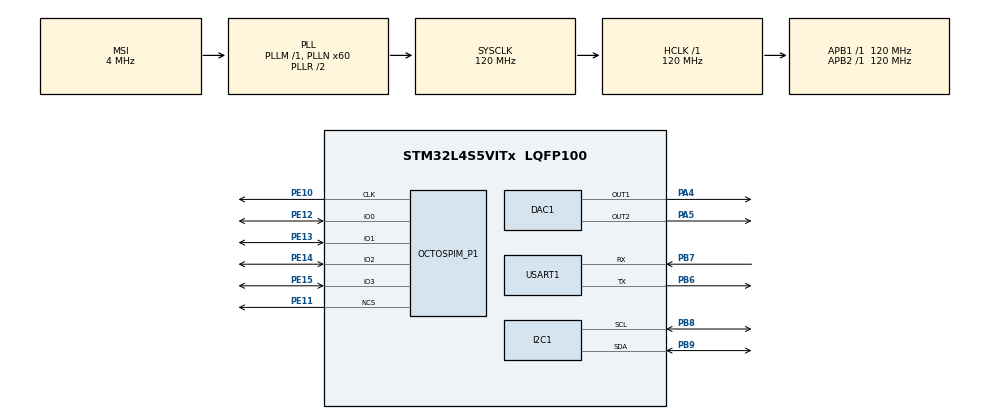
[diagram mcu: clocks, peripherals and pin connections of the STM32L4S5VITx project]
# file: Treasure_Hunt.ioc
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DAC1.DAC_Channel-DAC_OUT2=DAC_CHANNEL_2
DAC1.DAC_Trigger-DAC_OUT1=DAC_TRIGGER_T2_TRGO
DAC1.DAC_Trigger-DAC_OUT2=DAC_TRIGGER_NONE
Dma.DAC1_CH1.0.Direction=DMA_MEMORY_TO_PERIPH
Dma.DAC1_CH1.0.EventEnable=DISABLE
Dma.DAC1_CH1.0.Instance=DMA1_Channel1
Dma.DAC1_CH1.0.MemDataAlignment=DMA_MDATAALIGN_WORD
Dma.DAC1_CH1.0.MemInc=DMA_MINC_ENABLE
Dma.DAC1_CH1.0.Mode=DMA_CIRCULAR
Dma.DAC1_CH1.0.PeriphDataAlignment=DMA_PDATAALIGN_HALFWORD
Dma.DAC1_CH1.0.PeriphInc=DMA_PINC_DISABLE
Dma.DAC1_CH1.0.Polarity=HAL_DMAMUX_REQUEST_GEN_RISING
Dma.DAC1_CH1.0.Priority=DMA_PRIORITY_LOW
Dma.DAC1_CH1.0.RequestNumber=1
Dma.DAC1_CH1.0.SignalID=NONE
Dma.DAC1_CH1.0.SyncEnable=DISABLE
Dma.DAC1_CH1.0.SyncPolarity=HAL_DMAMUX_SYNC_NO_EVENT
Dma.DAC1_CH1.0.SyncRequestNumber=1
Dma.DAC1_CH1.0.SyncSignalID=NONE
Dma.Request0=DAC1_CH1
I2C1.Timing=0x30A175AB
Mcu.Family=STM32L4
Mcu.Name=STM32L4S5VITx
Mcu.Package=LQFP100
NVIC.DMA1_Channel1_IRQn=true\:0\:0\:false\:false\:true\:false\:true\:true
NVIC.PriorityGroup=NVIC_PRIORITYGROUP_4
NVIC.TIM6_DAC_IRQn=true\:15\:0\:false\:false\:true\:false\:true\:true
NVIC.TimeBase=TIM6_DAC_IRQn
NVIC.TimeBaseIP=TIM6
OCTOSPI1.ClockPrescaler=1
OCTOSPI1.DeviceSize=23
OCTOSPI1.SampleShifting=HAL_OSPI_SAMPLE_SHIFTING_HALFCYCLE
PA4.Signal=COMP_DAC11_group
PA5.Signal=COMP_DAC12_group
PB6.Mode=Asynchronous
PB6.Signal=USART1_TX
PB7.Mode=Asynchronous
PB7.Signal=USART1_RX
PB8.Mode=I2C
PB8.Signal=I2C1_SCL
PB9.Mode=I2C
PB9.Signal=I2C1_SDA
PE10.Mode=O1_P1_CLK
PE10.Signal=OCTOSPIM_P1_CLK
PE11.Mode=OCTOSPI1_Port1_NCS
PE11.Signal=OCTOSPIM_P1_NCS
PE12.Mode=OCTOSPI1_IOL_Port1L
PE12.Signal=OCTOSPIM_P1_IO0
PE13.Mode=OCTOSPI1_IOL_Port1L
PE13.Signal=OCTOSPIM_P1_IO1
PE14.Mode=OCTOSPI1_IOL_Port1L
PE14.Signal=OCTOSPIM_P1_IO2
PE15.Mode=OCTOSPI1_IOL_Port1L
PE15.Signal=OCTOSPIM_P1_IO3
ProjectManager.HeapSize=0x200
ProjectManager.StackSize=0x400
ProjectManager.TargetToolchain=STM32CubeIDE
RCC.ADCFreq_Value=48000000
RCC.AHBFreq_Value=120000000
RCC.APB1Freq_Value=120000000
RCC.APB1TimFreq_Value=120000000
RCC.APB2Freq_Value=120000000
RCC.APB2TimFreq_Value=120000000
RCC.CortexFreq_Value=120000000
RCC.HCLKFreq_Value=120000000
RCC.HSE_VALUE=8000000
RCC.HSI48_VALUE=48000000
RCC.HSI_VALUE=16000000
RCC.LSE_VALUE=32768
RCC.MSI_VALUE=4000000
RCC.PLLN=60
RCC.PLLSAI1N=24
RCC.SYSCLKFreq_VALUE=120000000
RCC.SYSCLKSource=RCC_SYSCLKSOURCE_PLLCLK
RCC.USBFreq_Value=48000000
RCC.VCOOutputFreq_Value=240000000
SH.COMP_DAC11_group.0=DAC1_OUT1,DAC_OUT1
SH.COMP_DAC12_group.0=DAC1_OUT2,DAC_OUT2
TIM2.Period=2721
TIM2.TIM_MasterOutputTrigger=TIM_TRGO_UPDATE
USART1.VirtualMode-Asynchronous=VM_ASYNC
VP_OCTOSPI1_VS_quad.Mode=quad_mode
VP_SYS_VS_tim6.Mode=TIM6
VP_TIM2_VS_ClockSourceINT.Mode=Internal
board=B-L4S5I-IOT01A

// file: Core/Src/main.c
/* USER CODE BEGIN Header */
/**
  ****************************************************************************
  * @file           : main.c
  * @brief          : Main program body
  ****************************************************************************
  * @attention
  *
  * Copyright (c) 2024 STMicroelectronics.
  * All rights reserved.
  *
  * This software is licensed under terms that can be found in the LICENSE file
  * in the root directory of this software component.
  * If no LICENSE file comes with this software, it is provided AS-IS.
  *
  ****************************************************************************
  */
/* USER CODE END Header */
#include "main.h"

/* USER CODE BEGIN Includes */
#include "stm32l4s5i_iot01.h"
#include "stm32l4s5i_iot01_gyro.h"
#include "stm32l4s5i_iot01_accelero.h"
#include "../../Drivers/Components/hts221/hts221.h"
#include "../../Drivers/Components/lsm6dsl/lsm6dsl.h"
#include "stm32l4s5i_iot01_qspi.h"

/* USER CODE END Includes */

/* USER CODE BEGIN PD */

#define PRECISION 4096
#define NOTE_CAPACITY 42
#define HIGHSCORE_FLASH_ADDRESS 0x00000000
#define SEED_FLASH_ADDRESS 0x00000500
#define DEFAULT_SEED 28

/* USER CODE END PD */

DAC_HandleTypeDef hdac1;
DMA_HandleTypeDef hdma_dac1_ch1;

I2C_HandleTypeDef hi2c1;

OSPI_HandleTypeDef hospi1;

TIM_HandleTypeDef htim2;

UART_HandleTypeDef huart1;

/* USER CODE BEGIN PV */

//  ---------- map generation and player progress ----------

uint32_t counter = 0;
int gameover = 0;
uint32_t highScore = 0;

int treasureRow, treasureCol;
int playerRow = 0;
int playerCol = 0;

// ---------- victory chime ----------

uint32_t array_size[] = {42,38,34,28};
uint32_t C6[NOTE_CAPACITY];
uint32_t D6[NOTE_CAPACITY];
uint32_t E6[NOTE_CAPACITY];
uint32_t G6[NOTE_CAPACITY];

uint32_t *notes[4];

uint32_t victoryMelody[] = {
    0, 2, 3, 0, 3, 0, 0   // C6, E6, G6, C7, G6, C7, C7
};

uint32_t victoryDurations[] = {
    500, 500, 500, 500, 300, 300, 1000 // Durations in milliseconds for each note
};

uint32_t victoryLength = 7; // Number of notes in the victory melody
uint32_t victoryIndex = 0;  // Index to track the current note
uint32_t dac_array[16];

// ---------- movement tracking ----------

// thresholds for movement
const int16_t accelThreshold = 200;
const float gyroThreshold = 1000.0f;

// use current as reference for movement change
int currentDirection = 0;

// debounce to help with noise
uint32_t lastChangeTime = 0;
const uint32_t debounceTime = 500;

/* USER CODE END PV */

void SystemClock_Config(void);
static void MX_GPIO_Init(void);
static void MX_DMA_Init(void);
static void MX_USART1_UART_Init(void);
static void MX_TIM2_Init(void);
static void MX_DAC1_Init(void);
static void MX_I2C1_Init(void);
static void MX_OCTOSPI1_Init(void);

/* USER CODE BEGIN 0 */

void SaveHighScore(uint32_t highScore) {
    uint8_t dataToWrite[4];

    // Set the highest bit to indicate that the high score is valid
    highScore |= (1UL << 31);

    // Convert the high score into a 4-byte array
    dataToWrite[0] = (highScore >> 24) & 0xFF;
    dataToWrite[1] = (highScore >> 16) & 0xFF;
    dataToWrite[2] = (highScore >> 8) & 0xFF;
    dataToWrite[3] = highScore & 0xFF;

    if (BSP_QSPI_Init() != QSPI_OK) {
//        HAL_UART_Transmit(&huart1, (uint8_t *)"QSPI Init Failed\r\n", 18, HAL_MAX_DELAY);
        Error_Handler();
    }

//    HAL_UART_Transmit(&huart1, (uint8_t *)"QSPI Init Success\r\n", 20, HAL_MAX_DELAY);

    // Erase the flash sector containing the high score
    if (BSP_QSPI_Erase_Sector(HIGHSCORE_FLASH_ADDRESS) != QSPI_OK) {
//        HAL_UART_Transmit(&huart1, (uint8_t *)"QSPI Erase Failed\r\n", 19, HAL_MAX_DELAY);
        Error_Handler();
    }

//    HAL_UART_Transmit(&huart1, (uint8_t *)"QSPI Erase Command Sent\r\n", 25, HAL_MAX_DELAY);

    // Wait for the erase operation to complete
    while (BSP_QSPI_GetStatus() == QSPI_BUSY) {
        HAL_Delay(10);
    }

    HAL_UART_Transmit(&huart1, (uint8_t *)"QSPI Erase Completed\r\n", 23, HAL_MAX_DELAY);

    // Write the high score to the flash memory
    if (BSP_QSPI_Write(dataToWrite, HIGHSCORE_FLASH_ADDRESS, sizeof(dataToWrite)) != QSPI_OK) {
//        HAL_UART_Transmit(&huart1, (uint8_t *)"QSPI Write Failed\r\n", 20, HAL_MAX_DELAY);
        Error_Handler();
    }

    HAL_UART_Transmit(&huart1, (uint8_t *)"High Score Saved\r\n", 18, HAL_MAX_DELAY);
}

uint32_t LoadHighScore(void) {
    uint8_t dataRead[4]; // Buffer to hold the 4 bytes of high score data

    // Initialize QSPI
    if (BSP_QSPI_Init() != QSPI_OK) {
//        HAL_UART_Transmit(&huart1, (uint8_t *)"QSPI Init Failed\r\n", 18, HAL_MAX_DELAY);
        Error_Handler();
    }

//    HAL_UART_Transmit(&huart1, (uint8_t *)"QSPI Init Success\r\n", 20, HAL_MAX_DELAY);

    // Read high score from flash memory
    if (BSP_QSPI_Read(dataRead, HIGHSCORE_FLASH_ADDRESS, sizeof(dataRead)) != QSPI_OK) {
//        HAL_UART_Transmit(&huart1, (uint8_t *)"QSPI Read Failed\r\n", 19, HAL_MAX_DELAY);
        Error_Handler();
    }

    // Combine the 4 bytes into a 32-bit integer
    uint32_t loadedHighScore = (dataRead[0] << 24) | (dataRead[1] << 16) | (dataRead[2] << 8) | dataRead[3];

    // Check if the highest bit (bit 31) is set, indicating a valid high score
    if ((loadedHighScore & (1UL << 31)) == 0) {
        // If bit 31 is not set, assume the high score is uninitialized and set it to 1000
        loadedHighScore = 10000;
    } else {
        // Clear the highest bit before using the high score value
        loadedHighScore &= ~(1UL << 31);
    }

    // Print the high score

    return loadedHighScore; // Return the high score
}

void SaveSeed(uint32_t seed) {
    uint8_t dataToWrite[4];

    dataToWrite[0] = (seed >> 24) & 0xFF;
    dataToWrite[1] = (seed >> 16) & 0xFF;
    dataToWrite[2] = (seed >> 8) & 0xFF;
    dataToWrite[3] = seed & 0xFF;

    if (BSP_QSPI_Init() != QSPI_OK) {
        Error_Handler();
    }

    if (BSP_QSPI_Erase_Sector(SEED_FLASH_ADDRESS) != QSPI_OK) {
        Error_Handler();
    }

    while (BSP_QSPI_GetStatus() == QSPI_BUSY) {
        HAL_Delay(10);
    }

    if (BSP_QSPI_Write(dataToWrite, SEED_FLASH_ADDRESS, sizeof(dataToWrite)) != QSPI_OK) {
        Error_Handler();
    }
}

uint32_t LoadSeed(void) {
    uint8_t dataRead[4];

    if (BSP_QSPI_Init() != QSPI_OK) {
        Error_Handler();
    }

    if (BSP_QSPI_Read(dataRead, SEED_FLASH_ADDRESS, sizeof(dataRead)) != QSPI_OK) {
        Error_Handler();
    }

    uint32_t seed = (dataRead[0] << 24) | (dataRead[1] << 16) | (dataRead[2] << 8) | dataRead[3];

    if (seed == 0xFFFFFFFF) {
        seed = DEFAULT_SEED;
    }

    return seed;
}

int DetectMovement(void) {
	// get sensor data
    float gyroData[3];
    int16_t accelData[3];
    BSP_GYRO_GetXYZ(gyroData);
    BSP_ACCELERO_AccGetXYZ(accelData);

    // detected direction
    int newDirection = 0;

    // current time
    uint32_t currentTime = HAL_GetTick();

    // check tilt
    if (accelData[0] > accelThreshold && gyroData[0] > gyroThreshold) {
    	newDirection = 1; //up
    } else if (accelData[1] < -accelThreshold && gyroData[1] < -gyroThreshold) {
    	newDirection = 2; //left
    } else if (accelData[0] < -accelThreshold && gyroData[0] < -gyroThreshold) {
    	newDirection = 3; //down
    } else if (accelData[1] > accelThreshold && gyroData[1] > gyroThreshold) {
    	newDirection = 4; //right
    } else {
    	newDirection = 0; //neutral
    }

    // only print if change in direction after enough delay (debounce)
    if ((newDirection != currentDirection) && (currentTime - lastChangeTime > debounceTime)) {
        // update direction
    	currentDirection = newDirection;
        lastChangeTime = currentTime;
    }

    return currentDirection;
}

void PrintInitialGrid(void) {
    const char newline[] = "\r\n"; // Newline for the terminal
    char displayBuffer[64];

    // Print a grid of all '1's
    for (int i = 0; i < 4; i++) {
        memset(displayBuffer, '1', 4);
        displayBuffer[4] = '\0';
        HAL_UART_Transmit(&huart1, (uint8_t *)displayBuffer, strlen(displayBuffer), HAL_MAX_DELAY);
        HAL_UART_Transmit(&huart1, (uint8_t *)newline, strlen(newline), HAL_MAX_DELAY);
    }
}

void PrintTreasureGrid(void) {
    const char newline[] = "\r\n";
    char grid[4][4];
    char treasureBuffer[32];
    char displayBuffer[64];  // Buffer to send rows over UART

    // Initialize the grid with '.' for empty spaces
    for (int i = 0; i < 4; i++) {
        for (int j = 0; j < 4; j++) {
            grid[i][j] = '.';
        }
    }

    // Set the treasure ('x') and player ('*') locations
    grid[treasureRow][treasureCol] = 'x'; // Treasure location
    grid[playerRow][playerCol] = '*';    // Player location

    // format output
    for (int i = 0; i <= 4; i++) {  // Includes the top and bottom border
        if (i == 0) {
            snprintf(displayBuffer, sizeof(displayBuffer), "+---+---+---+---+\r\n");
            HAL_UART_Transmit(&huart1, (uint8_t *)displayBuffer, strlen(displayBuffer), HAL_MAX_DELAY);
        } else {
            char rowBuffer[32] = "|";  // Start with the first border
            for (int j = 0; j < 4; j++) {
                char cell[8];
                snprintf(cell, sizeof(cell), " %c |", grid[i - 1][j]);  // Add cell content with separators
                strncat(rowBuffer, cell, sizeof(rowBuffer) - strlen(rowBuffer) - 1);
            }
            snprintf(displayBuffer, sizeof(displayBuffer), "%s\r\n", rowBuffer);
            HAL_UART_Transmit(&huart1, (uint8_t *)displayBuffer, strlen(displayBuffer), HAL_MAX_DELAY);

            snprintf(displayBuffer, sizeof(displayBuffer), "+---+---+---+---+\r\n");
            HAL_UART_Transmit(&huart1, (uint8_t *)displayBuffer, strlen(displayBuffer), HAL_MAX_DELAY);
        }
    }
}

void Move(void) {
    int movement = 0;

    // wait to get a valid direction (not none)
    while (movement == 0) {
        movement = DetectMovement();
        HAL_Delay(50);
    }

    // move
    switch (movement) {
        case 2: // up
            if (playerRow > 0) {
                playerRow--;
                counter++;
            }
            break;
        case 3: // right
            if (playerCol < 3) {
                playerCol++;
                counter++;
            }
            break;
        case 4: // down
            if (playerRow < 3) {
                playerRow++;
                counter++;
            }
            break;
        case 1: // left
            if (playerCol > 0) {
                playerCol--;
                counter++;
            }
            break;
        default:
            break;
    }

    // show new map
    PrintTreasureGrid();

    // print the updated number of moves
    char counterBuffer[50];
    snprintf(counterBuffer, sizeof(counterBuffer), "Moves made: %d\r\n", counter);
    HAL_UART_Transmit(&huart1, (uint8_t *)counterBuffer, strlen(counterBuffer), HAL_MAX_DELAY);

    // check if on treasure
    if (playerRow == treasureRow && playerCol == treasureCol) {
        const char winMessage[] = "You found the treasure!\r\n";
        HAL_UART_Transmit(&huart1, (uint8_t *)winMessage, strlen(winMessage), HAL_MAX_DELAY);
        HAL_Delay(1000);

        if(counter < LoadHighScore()){

        SaveHighScore(counter);

        }

        for(int i = 0; i< victoryLength; i++){

         uint32_t nextNote = victoryMelody[i]; // Get the current note
   	     uint32_t duration = victoryDurations[i]; // Get the current duration

   	     // Stop the current DMA for buffer
   	     HAL_DAC_Stop_DMA(&hdac1, DAC_CHANNEL_1);

   	     // Start DMA with the new note
   	     HAL_DAC_Start_DMA(&hdac1, DAC_CHANNEL_1, notes[nextNote], array_size[nextNote], DAC_ALIGN_12B_R);

   	     // Add a delay for the note duration
   	     HAL_Delay(duration);
        }

        HAL_DAC_Stop_DMA(&hdac1, DAC_CHANNEL_1);
        gameover = 1;

   	     // Increment the index to play the next note

    }
    else {
    	if (playerRow > treasureRow && playerCol > treasureCol) {
    		const char winMessage[] = "The treasure further up,\r\nmaybe left?\r\n";
    		HAL_UART_Transmit(&huart1, (uint8_t *)winMessage, strlen(winMessage), HAL_MAX_DELAY);
    		HAL_Delay(1000);
    	}
    	else if(playerRow > treasureRow && playerCol < treasureCol) {
    		const char winMessage[] = "You should go right up:))\r\n";
    		HAL_UART_Transmit(&huart1, (uint8_t *)winMessage, strlen(winMessage), HAL_MAX_DELAY);
    		HAL_Delay(1000);
    	}
    	else if(playerRow < treasureRow && playerCol > treasureCol) {
    		const char winMessage[] = "going up is not ~right~\r\n";
    		HAL_UART_Transmit(&huart1, (uint8_t *)winMessage, strlen(winMessage), HAL_MAX_DELAY);
    		HAL_Delay(1000);
    	}
    	else if(playerRow < treasureRow && playerCol < treasureCol) {
    		const char winMessage[] = "further down, right?\r\n";
    		HAL_UART_Transmit(&huart1, (uint8_t *)winMessage, strlen(winMessage), HAL_MAX_DELAY);
    		HAL_Delay(1000);
    	}
    	else if(playerRow == treasureRow) {
    		const char winMessage[] = "you're at the right level!\r\n";
    		HAL_UART_Transmit(&huart1, (uint8_t *)winMessage, strlen(winMessage), HAL_MAX_DELAY);
    		HAL_Delay(1000);
    	}
    	else if(playerCol == treasureCol) {
    		const char winMessage[] = "you should keep climbing up, \r\nor maybe down? you decide.\r\n";
    		HAL_UART_Transmit(&huart1, (uint8_t *)winMessage, strlen(winMessage), HAL_MAX_DELAY);
    		HAL_Delay(1000);
    	}
    }
}

/* USER CODE END 0 */

int main(void)
{

  /* MCU Configuration--------------------------------------------------------*/

  /* Reset of all peripherals, Initializes the Flash interface and the Systick. */
  HAL_Init();

  /* USER CODE BEGIN Init */

//  // ----- code to reset high score-----
//  uint32_t resetHS = 10;
//  SaveHighScore(resetHS);

  BSP_GYRO_Init();
  BSP_ACCELERO_Init();

  /* USER CODE END Init */

  /* Configure the system clock */
  SystemClock_Config();

  /* Initialize all configured peripherals */
  MX_GPIO_Init();
  MX_DMA_Init();
  MX_USART1_UART_Init();
  MX_TIM2_Init();
  MX_DAC1_Init();
  MX_I2C1_Init();
  MX_OCTOSPI1_Init();
  /* USER CODE BEGIN 2 */

  float gyroData[3];
  int16_t accelData[3];

  // Get Gyroscope and Accelerometer data
  BSP_GYRO_GetXYZ(gyroData);
  BSP_ACCELERO_AccGetXYZ(accelData);

  // Combine gyro and accel data into a new seed
  uint32_t gyroX = (uint32_t)gyroData[0];
  uint32_t gyroY = (uint32_t)gyroData[1];
  uint32_t gyroZ = (uint32_t)gyroData[2];

  uint32_t accelX = (uint32_t)accelData[0];
  uint32_t accelY = (uint32_t)accelData[1];
  uint32_t accelZ = (uint32_t)accelData[2];

  // Generate a seed by combining gyro and accel values
  uint32_t combinedSeed = (gyroX ^ gyroY ^ gyroZ) + (accelX ^ accelY ^ accelZ);

  // Seed the random number generator
  srand(combinedSeed);

  // Save the new seed for the next program run
  SaveSeed(combinedSeed);

  // Generate random treasure positions
  treasureRow = rand() % 4; // Random row (0-3)
  treasureCol = rand() % 4; // Random column (0-3)

   notes[0] = C6;
   notes[1] = D6;
   notes[2] = E6;
   notes[3] = G6;

 for (int i = 0; i<4; i++) {
  generateArray(notes[i], PRECISION, array_size[i]);
 }

 char highScoreBuffer[50];
 snprintf(highScoreBuffer, sizeof(highScoreBuffer), "High Score: %d\r\n", LoadHighScore());
 HAL_UART_Transmit(&huart1, (uint8_t *)highScoreBuffer, strlen(highScoreBuffer), HAL_MAX_DELAY);

 PrintTreasureGrid();

  /* USER CODE END 2 */

  /* Infinite loop */
  /* USER CODE BEGIN WHILE */

//  PrintInitialGrid();
  // Print the updated number of moves
  const char newline[] = "\r\n";
  HAL_UART_Transmit(&huart1, (uint8_t *)newline, strlen(newline), HAL_MAX_DELAY);
  while (!gameover)
  {
	  Move();
	  HAL_Delay(1500);

    /* USER CODE END WHILE */

  }
}

void SystemClock_Config(void)
{
  RCC_OscInitTypeDef RCC_OscInitStruct = {0};
  RCC_ClkInitTypeDef RCC_ClkInitStruct = {0};

  /** Configure the main internal regulator output voltage
  */
  if (HAL_PWREx_ControlVoltageScaling(PWR_REGULATOR_VOLTAGE_SCALE1_BOOST) != HAL_OK)
  {
    Error_Handler();
  }

  /** Initializes the RCC Oscillators according to the specified parameters
  * in the RCC_OscInitTypeDef structure.
  */
  RCC_OscInitStruct.OscillatorType = RCC_OSCILLATORTYPE_MSI;
  RCC_OscInitStruct.MSIState = RCC_MSI_ON;
  RCC_OscInitStruct.MSICalibrationValue = 0;
  RCC_OscInitStruct.MSIClockRange = RCC_MSIRANGE_6;
  RCC_OscInitStruct.PLL.PLLState = RCC_PLL_ON;
  RCC_OscInitStruct.PLL.PLLSource = RCC_PLLSOURCE_MSI;
  RCC_OscInitStruct.PLL.PLLM = 1;
  RCC_OscInitStruct.PLL.PLLN = 60;
  RCC_OscInitStruct.PLL.PLLP = RCC_PLLP_DIV2;
  RCC_OscInitStruct.PLL.PLLQ = RCC_PLLQ_DIV2;
  RCC_OscInitStruct.PLL.PLLR = RCC_PLLR_DIV2;
  if (HAL_RCC_OscConfig(&RCC_OscInitStruct) != HAL_OK)
  {
    Error_Handler();
  }

  /** Initializes the CPU, AHB and APB buses clocks
  */
  RCC_ClkInitStruct.ClockType = RCC_CLOCKTYPE_HCLK|RCC_CLOCKTYPE_SYSCLK
                              |RCC_CLOCKTYPE_PCLK1|RCC_CLOCKTYPE_PCLK2;
  RCC_ClkInitStruct.SYSCLKSource = RCC_SYSCLKSOURCE_PLLCLK;
  RCC_ClkInitStruct.AHBCLKDivider = RCC_SYSCLK_DIV1;
  RCC_ClkInitStruct.APB1CLKDivider = RCC_HCLK_DIV1;
  RCC_ClkInitStruct.APB2CLKDivider = RCC_HCLK_DIV1;

  if (HAL_RCC_ClockConfig(&RCC_ClkInitStruct, FLASH_LATENCY_5) != HAL_OK)
  {
    Error_Handler();
  }
}

static void MX_DAC1_Init(void)
{

  DAC_ChannelConfTypeDef sConfig = {0};

  /** DAC Initialization
  */
  hdac1.Instance = DAC1;
  if (HAL_DAC_Init(&hdac1) != HAL_OK)
  {
    Error_Handler();
  }

  /** DAC channel OUT1 config
  */
  sConfig.DAC_SampleAndHold = DAC_SAMPLEANDHOLD_DISABLE;
  sConfig.DAC_Trigger = DAC_TRIGGER_T2_TRGO;
  sConfig.DAC_HighFrequency = DAC_HIGH_FREQUENCY_INTERFACE_MODE_ABOVE_80MHZ;
  sConfig.DAC_OutputBuffer = DAC_OUTPUTBUFFER_ENABLE;
  sConfig.DAC_ConnectOnChipPeripheral = DAC_CHIPCONNECT_DISABLE;
  sConfig.DAC_UserTrimming = DAC_TRIMMING_FACTORY;
  if (HAL_DAC_ConfigChannel(&hdac1, &sConfig, DAC_CHANNEL_1) != HAL_OK)
  {
    Error_Handler();
  }

  /** DAC channel OUT2 config
  */
  sConfig.DAC_Trigger = DAC_TRIGGER_NONE;
  if (HAL_DAC_ConfigChannel(&hdac1, &sConfig, DAC_CHANNEL_2) != HAL_OK)
  {
    Error_Handler();
  }

}

static void MX_I2C1_Init(void)
{

  hi2c1.Instance = I2C1;
  hi2c1.Init.Timing = 0x30A175AB;
  hi2c1.Init.OwnAddress1 = 0;
  hi2c1.Init.AddressingMode = I2C_ADDRESSINGMODE_7BIT;
  hi2c1.Init.DualAddressMode = I2C_DUALADDRESS_DISABLE;
  hi2c1.Init.OwnAddress2 = 0;
  hi2c1.Init.OwnAddress2Masks = I2C_OA2_NOMASK;
  hi2c1.Init.GeneralCallMode = I2C_GENERALCALL_DISABLE;
  hi2c1.Init.NoStretchMode = I2C_NOSTRETCH_DISABLE;
  if (HAL_I2C_Init(&hi2c1) != HAL_OK)
  {
    Error_Handler();
  }

  /** Configure Analogue filter
  */
  if (HAL_I2CEx_ConfigAnalogFilter(&hi2c1, I2C_ANALOGFILTER_ENABLE) != HAL_OK)
  {
    Error_Handler();
  }

  /** Configure Digital filter
  */
  if (HAL_I2CEx_ConfigDigitalFilter(&hi2c1, 0) != HAL_OK)
  {
    Error_Handler();
  }

}

static void MX_OCTOSPI1_Init(void)
{

  OSPIM_CfgTypeDef OSPIM_Cfg_Struct = {0};

  /* OCTOSPI1 parameter configuration*/
  hospi1.Instance = OCTOSPI1;
  hospi1.Init.FifoThreshold = 1;
  hospi1.Init.DualQuad = HAL_OSPI_DUALQUAD_DISABLE;
  hospi1.Init.MemoryType = HAL_OSPI_MEMTYPE_MICRON;
  hospi1.Init.DeviceSize = 23;
  hospi1.Init.ChipSelectHighTime = 1;
  hospi1.Init.FreeRunningClock = HAL_OSPI_FREERUNCLK_DISABLE;
  hospi1.Init.ClockMode = HAL_OSPI_CLOCK_MODE_0;
  hospi1.Init.ClockPrescaler = 1;
  hospi1.Init.SampleShifting = HAL_OSPI_SAMPLE_SHIFTING_HALFCYCLE;
  hospi1.Init.DelayHoldQuarterCycle = HAL_OSPI_DHQC_DISABLE;
  hospi1.Init.ChipSelectBoundary = 0;
  hospi1.Init.DelayBlockBypass = HAL_OSPI_DELAY_BLOCK_BYPASSED;
  if (HAL_OSPI_Init(&hospi1) != HAL_OK)
  {
    Error_Handler();
  }
  OSPIM_Cfg_Struct.ClkPort = 1;
  OSPIM_Cfg_Struct.NCSPort = 1;
  OSPIM_Cfg_Struct.IOLowPort = HAL_OSPIM_IOPORT_1_LOW;
  if (HAL_OSPIM_Config(&hospi1, &OSPIM_Cfg_Struct, HAL_OSPI_TIMEOUT_DEFAULT_VALUE) != HAL_OK)
  {
    Error_Handler();
  }

}

static void MX_TIM2_Init(void)
{

  TIM_ClockConfigTypeDef sClockSourceConfig = {0};
  TIM_MasterConfigTypeDef sMasterConfig = {0};

  htim2.Instance = TIM2;
  htim2.Init.Prescaler = 0;
  htim2.Init.CounterMode = TIM_COUNTERMODE_UP;
  htim2.Init.Period = 2721;
  htim2.Init.ClockDivision = TIM_CLOCKDIVISION_DIV1;
  htim2.Init.AutoReloadPreload = TIM_AUTORELOAD_PRELOAD_DISABLE;
  if (HAL_TIM_Base_Init(&htim2) != HAL_OK)
  {
    Error_Handler();
  }
  sClockSourceConfig.ClockSource = TIM_CLOCKSOURCE_INTERNAL;
  if (HAL_TIM_ConfigClockSource(&htim2, &sClockSourceConfig) != HAL_OK)
  {
    Error_Handler();
  }
  sMasterConfig.MasterOutputTrigger = TIM_TRGO_UPDATE;
  sMasterConfig.MasterSlaveMode = TIM_MASTERSLAVEMODE_DISABLE;
  if (HAL_TIMEx_MasterConfigSynchronization(&htim2, &sMasterConfig) != HAL_OK)
  {
    Error_Handler();
  }
  /* USER CODE BEGIN TIM2_Init 2 */

  HAL_TIM_Base_Start_IT(&htim2);
  HAL_TIM_Base_Start(&htim2);

  /* USER CODE END TIM2_Init 2 */

}

static void MX_USART1_UART_Init(void)
{

  huart1.Instance = USART1;
  huart1.Init.BaudRate = 115200;
  huart1.Init.WordLength = UART_WORDLENGTH_8B;
  huart1.Init.StopBits = UART_STOPBITS_1;
  huart1.Init.Parity = UART_PARITY_NONE;
  huart1.Init.Mode = UART_MODE_TX_RX;
  huart1.Init.HwFlowCtl = UART_HWCONTROL_NONE;
  huart1.Init.OverSampling = UART_OVERSAMPLING_16;
  huart1.Init.OneBitSampling = UART_ONE_BIT_SAMPLE_DISABLE;
  huart1.Init.ClockPrescaler = UART_PRESCALER_DIV1;
  huart1.AdvancedInit.AdvFeatureInit = UART_ADVFEATURE_NO_INIT;
  if (HAL_UART_Init(&huart1) != HAL_OK)
  {
    Error_Handler();
  }
  if (HAL_UARTEx_SetTxFifoThreshold(&huart1, UART_TXFIFO_THRESHOLD_1_8) != HAL_OK)
  {
    Error_Handler();
  }
  if (HAL_UARTEx_SetRxFifoThreshold(&huart1, UART_RXFIFO_THRESHOLD_1_8) != HAL_OK)
  {
    Error_Handler();
  }
  if (HAL_UARTEx_DisableFifoMode(&huart1) != HAL_OK)
  {
    Error_Handler();
  }

}

static void MX_DMA_Init(void)
{

  /* DMA controller clock enable */
  __HAL_RCC_DMAMUX1_CLK_ENABLE();
  __HAL_RCC_DMA1_CLK_ENABLE();

  /* DMA interrupt init */
  /* DMA1_Channel1_IRQn interrupt configuration */
  HAL_NVIC_SetPriority(DMA1_Channel1_IRQn, 0, 0);
  HAL_NVIC_EnableIRQ(DMA1_Channel1_IRQn);

}

static void MX_GPIO_Init(void)
{

  /* GPIO Ports Clock Enable */
  __HAL_RCC_GPIOA_CLK_ENABLE();
  __HAL_RCC_GPIOE_CLK_ENABLE();
  __HAL_RCC_GPIOB_CLK_ENABLE();

}

void HAL_TIM_PeriodElapsedCallback(TIM_HandleTypeDef *htim)
{
  if (htim->Instance == TIM6) {
    HAL_IncTick();
  }
}

void Error_Handler(void)
{
  __disable_irq();
  while (1)
  {
  }
}
